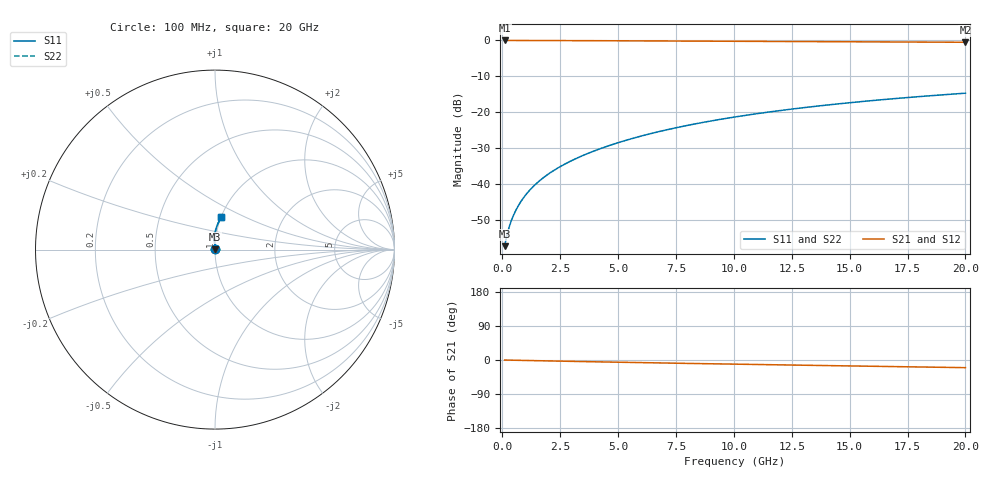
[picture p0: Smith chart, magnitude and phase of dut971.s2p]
! Touchstone file exported from HFSS 2024.1.0
!  File:  C:/UserFiles/LocalFiles/RDL_TSV_Batchsim/temp_RDL_top_971_1779938836.aedt
!  Generated:  11:29:27 AM May 28, 2026
!  Design:  RDL_top
!  Project:  temp_RDL_top_971_1779938836
!  Setup:  Setup1
!  Solution:  Sweep
! Variables:
!  dtsv = 10.80580581um
!  hbump = 3um
!  htsv = 92.08um
!  ldown = 100um
!  lrdl = 276.58um
!  p = 40
!  p1 = 52.42um
!  rhole = 1um
!  t = 450um
!  tdown = 3.915915916um
!  trdl = 3.95um
!  wdown = 15.38538539um
!  wrdl = 28.87um
# GHz S MA R 50.000000
! Terminal data exported
! Port[1] = Box2_T1
! Port[2] = Box2_T2
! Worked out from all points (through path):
!   200 points, 100 MHz to 20 GHz, reference 50 ohm
!   highest |S21| = -0.01 dB at 100 MHz (marker M1); lowest = -0.5 dB at 20 GHz (marker M2)
!   group delay of S21, straight-line fit = 2.76 ps
!   lowest |S11| = -57.4 dB at 100 MHz (marker M3), VSWR 1.00, Z = 50.1 + j0.0786 ohm
!   |S11| at or under -10 dB: start of sweep to end of sweep
!   |S22| runs from -57.4 to -14.7 dB; largest |S21 - S12| = 5.3e-15
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0.1  0.001343 35.7  0.9989 -0.1  0.9989 -0.1  0.001343 35.7
! Gamma 0 0 0 0
! Port Impedance 50 0 50 0
0.2  0.001908 52.3  0.9988 -0.3  0.9988 -0.3  0.001908 52.3
0.3  0.002509 60.7  0.9987 -0.4  0.9987 -0.4  0.002509 60.7
0.4  0.003113 66.1  0.9986 -0.5  0.9986 -0.5  0.003113 66.1
0.5  0.003725 70.0  0.9985 -0.6  0.9985 -0.6  0.003725 70.0
0.6  0.004345 73.0  0.9984 -0.7  0.9984 -0.7  0.004345 73.0
0.8  0.005612 77.3  0.9983 -1.0  0.9983 -1.0  0.005612 77.3
1.1  0.007566 81.5  0.998 -1.4  0.998 -1.4  0.007566 81.5
1.3  0.008897 83.4  0.9977 -1.6  0.9977 -1.6  0.008897 83.4
1.6  0.01093 85.6  0.9973 -2.0  0.9973 -2.0  0.01093 85.6
2.1  0.01442 88.2  0.9964 -2.6  0.9964 -2.6  0.01442 88.2
2.7  0.01879 90.3  0.995 -3.3  0.995 -3.3  0.01879 90.3
3.5  0.02491 92.1  0.9929 -4.2  0.9929 -4.2  0.02491 92.1
4.2  0.03057 93.0  0.9908 -5.0  0.9908 -5.0  0.03057 93.0
5  0.03735 93.6  0.9882 -5.9  0.9882 -5.9  0.03736 93.6
6.8  0.0537 93.6  0.982 -7.8  0.982 -7.8  0.0537 93.6
8.4  0.06911 92.5  0.9765 -9.4  0.9765 -9.4  0.06911 92.5
10.1  0.08598 90.8  0.9709 -11.0  0.9709 -11.0  0.08598 90.8
11.7  0.102 89.0  0.9659 -12.6  0.9659 -12.6  0.102 89.0
13.4  0.1191 86.9  0.9609 -14.2  0.9609 -14.2  0.1191 86.9
16.7  0.1518 82.8  0.9516 -17.2  0.9516 -17.2  0.1518 82.8
20  0.1834 78.9  0.9425 -20.2  0.9425 -20.2  0.1834 78.9
